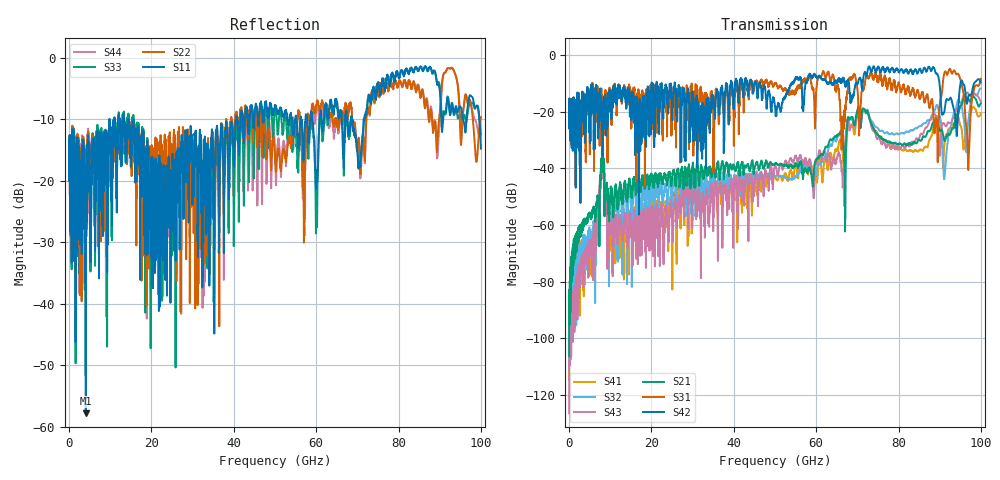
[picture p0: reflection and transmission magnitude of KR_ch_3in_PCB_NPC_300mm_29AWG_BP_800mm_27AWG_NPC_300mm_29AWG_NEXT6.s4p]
# GHz S RI R 45
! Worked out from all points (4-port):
!   4000 points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, 25 MHz to 100 GHz, reference 45 ohm
!   strongest paths, dB at 25 MHz, 25.02 GHz, 50.02 GHz, 75.03 GHz, 100 GHz:
!     S42: -20.6, -18.0, -18.0, -4.3, -9.8
!     S31: -20.6, -21.5, -10.2, -8.9, -8.4
!     S21: -106.3, -44.3, -38.2, -28.3, -17.0
!     S43: -126.4, -57.1, -39.1, -29.6, -16.4
!     S32: -109.6, -53.5, -42.7, -25.9, -11.9
!     S41: -114.7, -67.4, -43.2, -28.0, -20.5
!   lowest |S11| = -57.8 dB at 4.075 GHz (marker M1), VSWR 1.00, Z = 45 - j0.109 ohm
!   |S11| at or under -10 dB: start of sweep to 9.824 GHz; 15.63 GHz to 40.62 GHz (24.99 GHz wide, 88.9 % of centre); 68.66 GHz to 71.56 GHz (2.899 GHz wide, 4.13 % of centre)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
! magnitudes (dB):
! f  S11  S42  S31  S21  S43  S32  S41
! 25 MHz  -16.1  -20.6  -20.6  -106.3  -126.4  -109.6  -114.7
! 4.075 GHz  -57.8  -25.8  -37.9  -58.8  -68.3  -66.3  -64.1
! 8.05 GHz  -19.2  -24.9  -18.4  -38.0  -35.9  -36.9  -36.1
! 16.8 GHz  -12.2  -23.0  -14.2  -43.5  -58.6  -46.4  -57.0
! 91.25 GHz  -8.8  -18.7  -6.0  -30.3  -24.7  -41.6  -30.1
! 96.85 GHz  -7.7  -15.2  -36.6  -15.2  -13.4  -24.4  -23.9
! 100 GHz  -14.8  -9.8  -8.4  -17.0  -16.4  -11.9  -20.5
